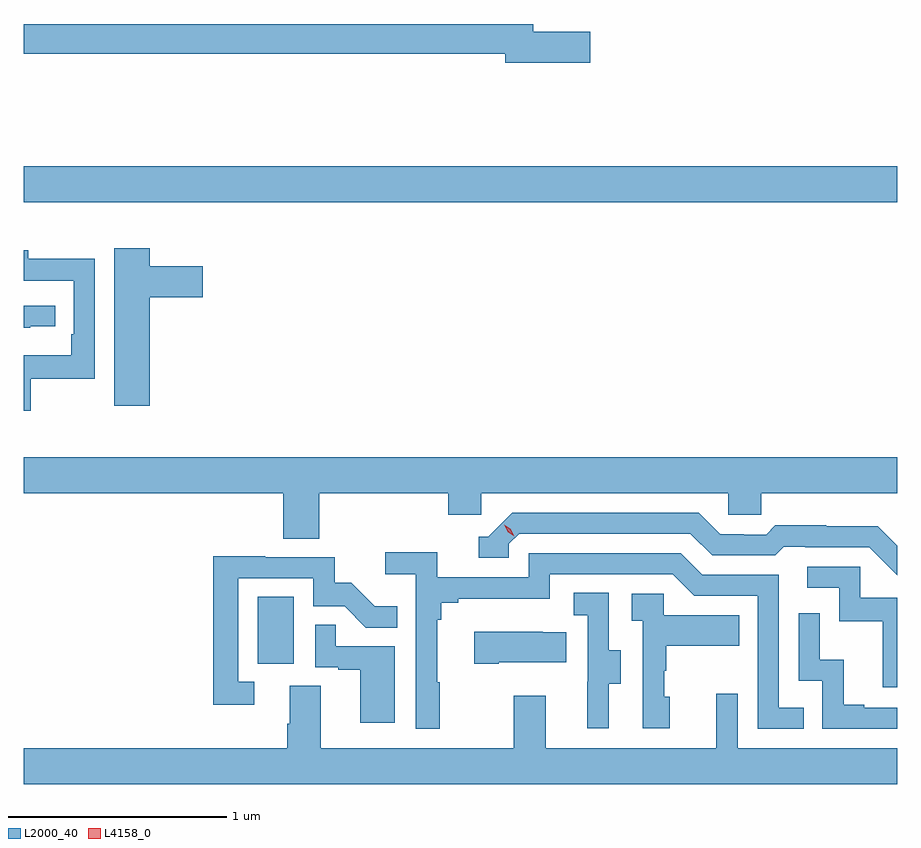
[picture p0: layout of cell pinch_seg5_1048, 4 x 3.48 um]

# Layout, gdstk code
import gdstk
lib = gdstk.Library(unit=1e-6, precision=1e-09)
def R(c, l, rs):  # rectangles x0, y0, x1, y1
    for r in rs: c.add(gdstk.rectangle(r[:2], r[2:], *l))
def P(c, l, *ps):  # polygons
    for p in ps: c.add(gdstk.Polygon(p, *l))
L2000_40 = (2000, 40)
L4158_0 = (4158, 0)

pinch_seg5_1048 = lib.new_cell('pinch_seg5_1048')
R(pinch_seg5_1048, L2000_40, [(830.21,867.966,830.374,868.273), (829.138,870.08,833.138,870.244)])
P(pinch_seg5_1048, L2000_40, [(831.733,870.86),(831.472,870.86),(831.472,870.896),(829.138,870.896),(829.138,870.76),(831.344,870.76),(831.344,870.718),(831.733,870.718)],
  [(829.714,869.645),(829.957,869.645),(829.957,869.787),(829.714,869.787),(829.714,869.869),(829.553,869.869),(829.553,869.148),(829.714,869.148)],
  [(829.171,869.271),(829.464,869.271),(829.464,869.822),(829.159,869.822),(829.159,869.86),(829.138,869.86),(829.138,869.721),(829.368,869.721),(829.368,869.476),(829.355,869.476),(829.355,869.38),(829.138,869.38),(829.138,869.124),(829.171,869.124)],
  [(829.169,869.511),(829.282,869.511),(829.282,869.607),(829.138,869.607),(829.138,869.506),(829.169,869.506)],
  [(830.492,868.748),(831.083,868.748),(831.083,868.65),(831.234,868.65),(831.234,868.748),(832.365,868.748),(832.365,868.65),(832.515,868.65),(832.515,868.748),(833.138,868.748),(833.138,868.912),(829.138,868.912),(829.138,868.748),(830.327,868.748),(830.327,868.54),(830.492,868.54)],
  [(833.138,868.507),(833.048,868.597),(832.812,868.597),(832.812,868.6),(832.579,868.6),(832.537,868.557),(832.434,868.557),(832.434,868.56),(832.327,868.56),(832.228,868.659),(831.375,868.659),(831.264,868.548),(831.221,868.548),(831.221,868.452),(831.36,868.452),(831.36,868.515),(831.408,868.563),(832.191,868.563),(832.29,868.464),(832.579,868.464),(832.618,868.503),(832.717,868.503),(832.717,868.5),(833.01,868.5),(833.138,868.372)],
  [(831.043,867.881),(831.031,867.881),(831.031,868.169),(831.05,868.169),(831.05,868.246),(831.127,868.246),(831.127,868.265),(831.546,868.265),(831.546,868.377),(832.11,868.377),(832.209,868.278),(832.5,868.278),(832.5,867.669),(832.709,867.669),(832.709,867.765),(832.596,867.765),(832.596,868.374),(832.246,868.374),(832.147,868.473),(831.45,868.473),(831.45,868.362),(831.032,868.362),(831.032,868.478),(830.793,868.478),(830.793,868.376),(830.934,868.376),(830.934,867.669),(831.043,867.669)],
  [(830.194,867.885),(830.121,867.885),(830.121,868.359),(830.463,868.359),(830.463,868.23),(830.607,868.23),(830.705,868.132),(830.849,868.132),(830.849,868.231),(830.745,868.231),(830.638,868.338),(830.562,868.338),(830.562,868.455),(830.243,868.455),(830.243,868.46),(830.005,868.46),(830.005,867.78),(830.194,867.78)],
  [(833.138,868.269),(832.968,868.269),(832.968,868.41),(832.725,868.41),(832.725,868.314),(832.872,868.314),(832.872,868.161),(833.071,868.161),(833.071,867.858),(833.138,867.858)],
  [(831.817,867.874),(831.871,867.874),(831.871,868.029),(831.816,868.029),(831.816,868.292),(831.657,868.292),(831.657,868.189),(831.72,868.189),(831.72,867.885),(831.719,867.885),(831.719,867.672),(831.817,867.672)],
  [(832.096,867.816),(832.071,867.816),(832.071,867.935),(832.081,867.935),(832.081,868.049),(832.415,868.049),(832.415,868.189),(832.068,868.189),(832.068,868.287),(831.921,868.287),(831.921,868.163),(831.972,868.163),(831.972,867.672),(832.096,867.672)],
  [(833.138,867.765),(832.987,867.765),(832.987,867.778),(832.892,867.778),(832.892,867.986),(832.782,867.986),(832.782,868.198),(832.686,868.198),(832.686,867.888),(832.794,867.888),(832.794,867.669),(833.138,867.669)],
  [(830.836,868.047),(830.567,868.047),(830.567,868.145),(830.472,868.145),(830.472,867.951),(830.579,867.951),(830.579,867.939),(830.678,867.939),(830.678,867.696),(830.836,867.696)],
  [(831.313,867.974),(831.623,867.974),(831.623,868.111),(831.515,868.111),(831.515,868.114),(831.201,868.114),(831.201,867.967),(831.313,867.967)],
  [(833.138,867.58),(832.407,867.58),(832.407,867.829),(832.31,867.829),(832.31,867.58),(831.529,867.58),(831.529,867.82),(831.382,867.82),(831.382,867.58),(830.497,867.58),(830.497,867.866),(830.357,867.866),(830.357,867.692),(830.345,867.692),(830.345,867.58),(829.138,867.58),(829.138,867.416),(833.138,867.416)])
P(pinch_seg5_1048, L4158_0, [(831.385,868.55),(831.354,868.57),(831.338,868.602),(831.338,868.602),(831.339,868.602),(831.369,868.583),(831.385,868.55),(831.385,868.55)])

lib.write_gds('pinch_seg5_1048.gds')
